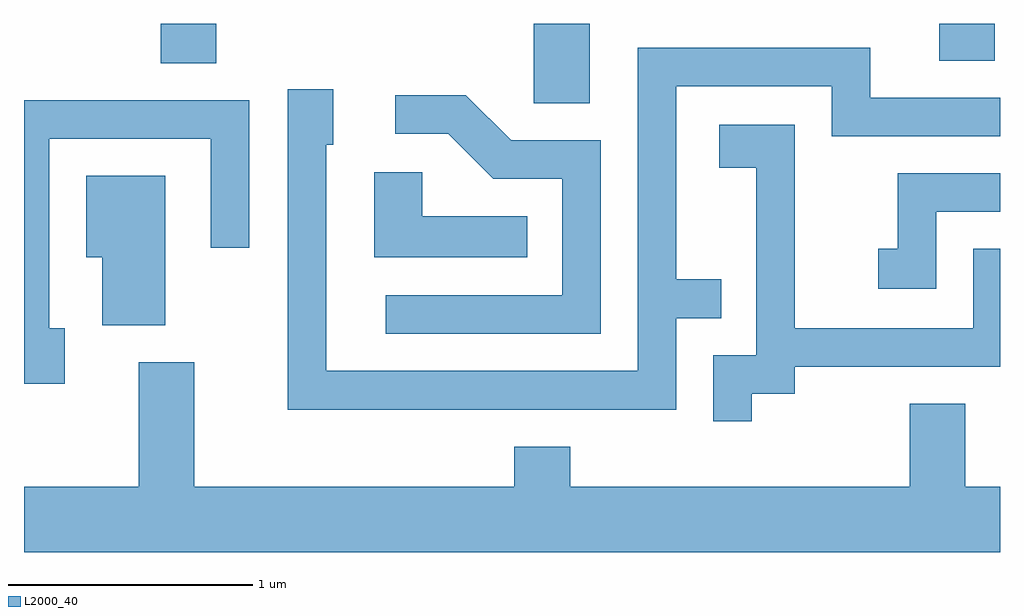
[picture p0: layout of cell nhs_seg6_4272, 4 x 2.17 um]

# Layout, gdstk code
import gdstk
lib = gdstk.Library(unit=1e-6, precision=1e-09)
def R(c, l, rs):  # rectangles x0, y0, x1, y1
    for r in rs: c.add(gdstk.rectangle(r[:2], r[2:], *l))
def P(c, l, *ps):  # polygons
    for p in ps: c.add(gdstk.Polygon(p, *l))
L2000_40 = (2000, 40)

nhs_seg6_4272 = lib.new_cell('nhs_seg6_4272')
R(nhs_seg6_4272, L2000_40, [(317.701,1591.836,317.929,1592.162), (316.171,1592.001,316.399,1592.162), (319.361,1592.011,319.589,1592.162)])
P(nhs_seg6_4272, L2000_40, [(318.284,1590.956),(318.468,1590.956),(318.468,1591.114),(318.284,1591.114),(318.284,1591.906),(318.921,1591.906),(318.921,1591.701),(319.611,1591.701),(319.611,1591.859),(319.079,1591.859),(319.079,1592.064),(318.126,1592.064),(318.126,1590.739),(316.849,1590.739),(316.849,1591.666),(316.879,1591.666),(316.879,1591.894),(316.691,1591.894),(316.691,1590.581),(318.284,1590.581)],
  [(317.974,1591.684),(317.607,1591.684),(317.422,1591.869),(317.133,1591.869),(317.133,1591.711),(317.349,1591.711),(317.534,1591.526),(317.816,1591.526),(317.816,1591.049),(317.093,1591.049),(317.093,1590.891),(317.974,1590.891)],
  [(315.779,1590.914),(315.714,1590.914),(315.714,1591.691),(316.376,1591.691),(316.376,1591.243),(316.534,1591.243),(316.534,1591.849),(315.611,1591.849),(315.611,1590.686),(315.779,1590.686)],
  [(318.594,1590.646),(318.769,1590.646),(318.769,1590.756),(319.611,1590.756),(319.611,1591.239),(319.501,1591.239),(319.501,1590.914),(318.769,1590.914),(318.769,1591.749),(318.461,1591.749),(318.461,1591.571),(318.611,1591.571),(318.611,1590.804),(318.436,1590.804),(318.436,1590.533),(318.594,1590.533)],
  [(317.673,1591.374),(317.244,1591.374),(317.244,1591.554),(317.046,1591.554),(317.046,1591.206),(317.673,1591.206)],
  [(319.349,1591.391),(319.611,1591.391),(319.611,1591.549),(319.191,1591.549),(319.191,1591.239),(319.113,1591.239),(319.113,1591.076),(319.349,1591.076)],
  [(316.189,1591.539),(315.866,1591.539),(315.866,1591.206),(315.931,1591.206),(315.931,1590.926),(316.189,1590.926)],
  [(319.611,1590.264),(319.469,1590.264),(319.469,1590.604),(319.241,1590.604),(319.241,1590.264),(317.849,1590.264),(317.849,1590.429),(317.621,1590.429),(317.621,1590.264),(316.309,1590.264),(316.309,1590.774),(316.081,1590.774),(316.081,1590.264),(315.611,1590.264),(315.611,1589.996),(319.611,1589.996)])

lib.write_gds('nhs_seg6_4272.gds')
